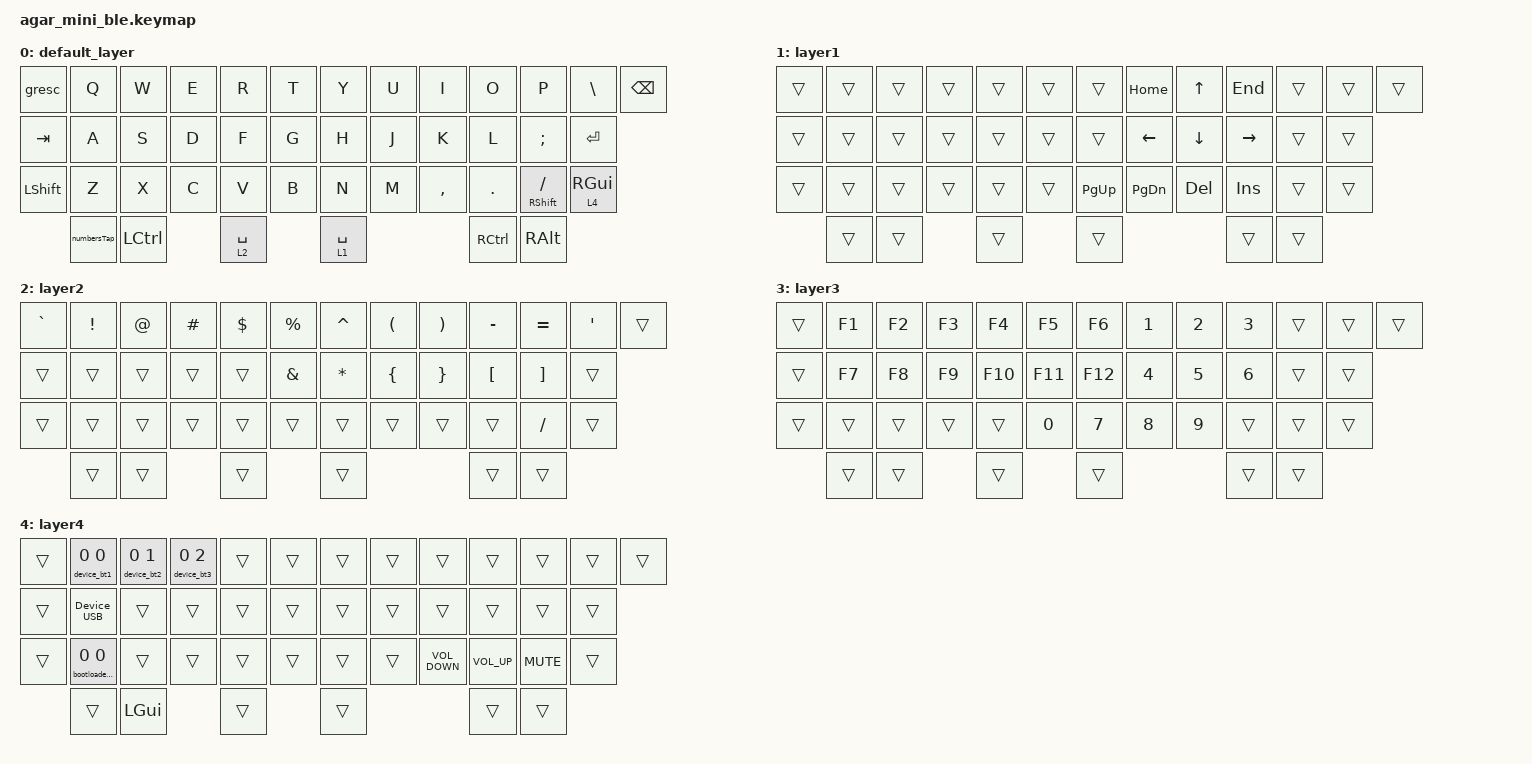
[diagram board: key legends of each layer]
#include "./common/common.keymap"


/ {
    behaviors {
        numbersTap: numbersTap {
            compatible = "zmk,behavior-tap-dance";
            label = "NUMBERSTAP";
            #binding-cells = <0>;
            bindings = <&kp LEFT_ALT>, <&mo 3>;
        };

        shiftHold: shiftHold {
            compatible = "zmk,behavior-hold-tap";
            label = "SHIFTHOLD";
            bindings = <&kp>, <&kp>;

            #binding-cells = <2>;
            tapping-term-ms = <350>;
            flavor = "tap-preferred";
        };
    };

    keymap {
        compatible = "zmk,keymap";

        default_layer {
            bindings = <
&gresc     &kp Q        &kp W             &kp E  &kp R        &kp T  &kp Y        &kp U  &kp I      &kp O      &kp P                    &kp BACKSLASH    &kp BSPC
&kp TAB    &kp A        &kp S             &kp D  &kp F        &kp G  &kp H        &kp J  &kp K      &kp L      &kp SEMI                 &kp RET
&kp LSHFT  &kp Z        &kp X             &kp C  &kp V        &kp B  &kp N        &kp M  &kp COMMA  &kp DOT    &shiftHold RSHIFT SLASH  &lt 4 RIGHT_GUI
           &numbersTap  &kp LEFT_CONTROL         &lt 2 SPACE         &lt 1 SPACE                    &kp RCTRL  &kp RIGHT_ALT
            >;
        };

        layer1 {
            bindings = <
&trans  &trans  &trans  &trans  &trans  &trans  &trans       &kp HOME       &kp UP_ARROW  &kp END    &trans  &trans  &trans
&trans  &trans  &trans  &trans  &trans  &trans  &trans       &kp LEFT       &kp DOWN      &kp RIGHT  &trans  &trans
&trans  &trans  &trans  &trans  &trans  &trans  &kp PAGE_UP  &kp PAGE_DOWN  &kp DEL       &kp INS    &trans  &trans
        &trans  &trans          &trans          &trans                                    &trans     &trans
            >;
        };

        layer2 {
            bindings = <
&kp GRAVE  &kp EXCLAMATION  &kp AT_SIGN  &kp HASH  &kp DOLLAR  &kp PERCENT    &kp CARET     &kp LEFT_PARENTHESIS  &kp RIGHT_PARENTHESIS  &kp MINUS         &kp EQUAL          &kp SINGLE_QUOTE  &trans
&trans     &trans           &trans       &trans    &trans      &kp AMPERSAND  &kp ASTERISK  &kp LEFT_BRACE        &kp RIGHT_BRACE        &kp LEFT_BRACKET  &kp RIGHT_BRACKET  &trans
&trans     &trans           &trans       &trans    &trans      &trans         &trans        &trans                &trans                 &trans            &kp SLASH          &trans
           &trans           &trans                 &trans                     &trans                                                     &trans            &trans
            >;
        };

        layer3 {
            bindings = <
&trans  &kp F1  &kp F2  &kp F3  &kp F4   &kp F5   &kp F6        &kp NUMBER_1  &kp NUMBER_2  &kp NUMBER_3  &trans  &trans  &trans
&trans  &kp F7  &kp F8  &kp F9  &kp F10  &kp F11  &kp F12       &kp NUMBER_4  &kp NUMBER_5  &kp NUMBER_6  &trans  &trans
&trans  &trans  &trans  &trans  &trans   &kp NUMBER_0   &kp NUMBER_7  &kp NUMBER_8        &kp NUMBER_9        &trans        &trans  &trans
        &trans  &trans          &trans            &trans                                    &trans        &trans
            >;
        };

        layer4 {
            bindings = <
&trans  &device_bt1 0 0  &device_bt2 0 1  &device_bt3 0 2  &trans  &trans  &trans  &trans  &trans             &trans        &trans      &trans  &trans
&trans  &Device_USB  &trans        &trans  &trans  &trans  &trans  &trans  &trans             &trans        &trans      &trans
&trans  &bootloader_reset 0 0  &trans        &trans  &trans  &trans  &trans  &trans  &kp C_VOLUME_DOWN  &kp C_VOL_UP  &kp K_MUTE  &trans
        &trans  &kp LEFT_GUI          &trans          &trans                             &trans        &trans     
            >;
        };
    };
};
